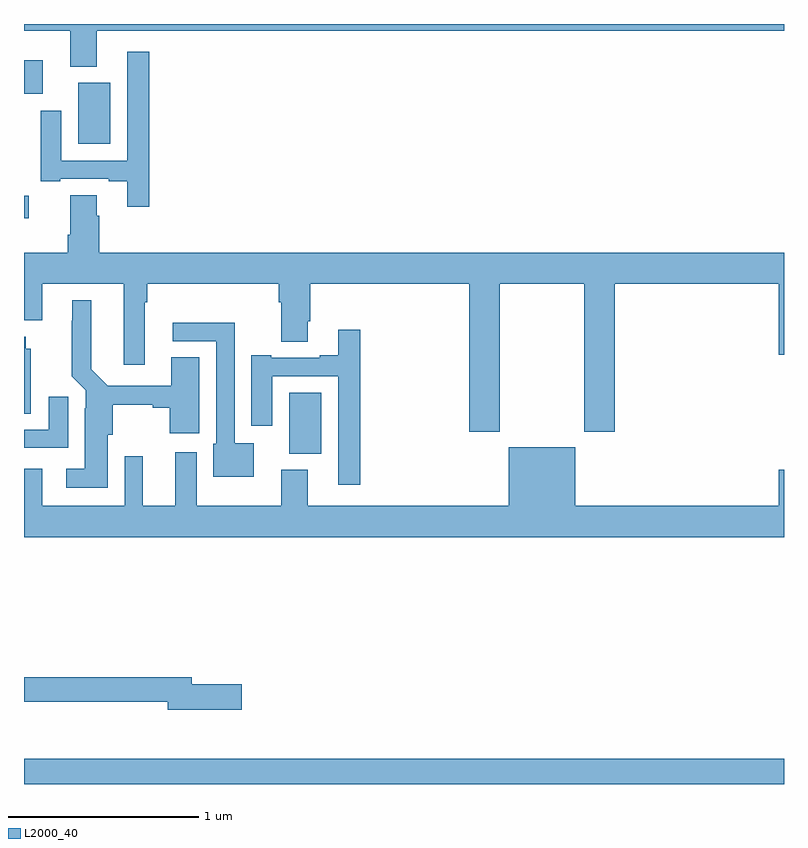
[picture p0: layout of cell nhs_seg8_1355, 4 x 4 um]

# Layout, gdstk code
import gdstk
lib = gdstk.Library(unit=1e-6, precision=1e-09)
def R(c, l, rs):  # rectangles x0, y0, x1, y1
    for r in rs: c.add(gdstk.rectangle(r[:2], r[2:], *l))
def P(c, l, *ps):  # polygons
    for p in ps: c.add(gdstk.Polygon(p, *l))
L2000_40 = (2000, 40)

nhs_seg8_1355 = lib.new_cell('nhs_seg8_1355')
R(nhs_seg8_1355, L2000_40, [(197,1081.9,201,1082.032), (198.395,1083.638,198.565,1083.958), (197,1084.877,197.026,1084.995), (197.285,1085.27,197.455,1085.59), (197,1085.534,197.098,1085.71)])
P(nhs_seg8_1355, L2000_40, [(197.383,1085.864),(201,1085.864),(201,1085.9),(197,1085.9),(197,1085.864),(197.243,1085.864),(197.243,1085.675),(197.383,1085.675)],
  [(197.66,1085.755),(197.544,1085.755),(197.544,1085.181),(197.197,1085.181),(197.197,1085.443),(197.087,1085.443),(197.087,1085.073),(197.191,1085.073),(197.191,1085.085),(197.447,1085.085),(197.447,1085.073),(197.543,1085.073),(197.543,1084.938),(197.66,1084.938)],
  [(197,1084.34),(197.095,1084.34),(197.095,1084.532),(197.525,1084.532),(197.525,1084.107),(197.635,1084.107),(197.635,1084.436),(197.648,1084.436),(197.648,1084.532),(198.341,1084.532),(198.341,1084.436),(198.353,1084.436),(198.353,1084.228),(198.493,1084.228),(198.493,1084.336),(198.506,1084.336),(198.506,1084.532),(199.343,1084.532),(199.343,1083.753),(199.503,1083.753),(199.503,1084.532),(199.948,1084.532),(199.948,1083.753),(200.108,1083.753),(200.108,1084.532),(200.972,1084.532),(200.972,1084.158),(201,1084.158),(201,1084.696),(197.396,1084.696),(197.396,1084.892),(197.383,1084.892),(197.383,1085),(197.243,1085),(197.243,1084.792),(197.231,1084.792),(197.231,1084.696),(197,1084.696)],
  [(197.44,1083.738),(197.466,1083.738),(197.466,1083.895),(197.678,1083.895),(197.678,1083.88),(197.767,1083.88),(197.767,1083.747),(197.923,1083.747),(197.923,1084.145),(197.774,1084.145),(197.774,1083.996),(197.44,1083.996),(197.353,1084.084),(197.353,1084.447),(197.255,1084.447),(197.255,1084.337),(197.251,1084.337),(197.251,1084.046),(197.325,1083.972),(197.325,1083.878),(197.321,1083.878),(197.321,1083.559),(197.223,1083.559),(197.223,1083.458),(197.44,1083.458)],
  [(198.208,1083.694),(198.108,1083.694),(198.108,1084.328),(197.784,1084.328),(197.784,1084.23),(198.012,1084.23),(198.012,1083.69),(197.996,1083.69),(197.996,1083.518),(198.208,1083.518)],
  [(198.77,1084.291),(198.653,1084.291),(198.653,1084.156),(198.557,1084.156),(198.557,1084.143),(198.301,1084.143),(198.301,1084.156),(198.197,1084.156),(198.197,1083.786),(198.307,1083.786),(198.307,1084.047),(198.654,1084.047),(198.654,1083.474),(198.77,1083.474)],
  [(197.035,1084.191),(197.008,1084.191),(197.008,1084.255),(197,1084.255),(197,1083.85),(197.035,1083.85)],
  [(197.233,1083.937),(197.129,1083.937),(197.129,1083.765),(197,1083.765),(197,1083.669),(197.233,1083.669)],
  [(201,1083.553),(200.972,1083.553),(200.972,1083.364),(199.9,1083.364),(199.9,1083.673),(199.55,1083.673),(199.55,1083.364),(198.493,1083.364),(198.493,1083.553),(198.353,1083.553),(198.353,1083.364),(197.908,1083.364),(197.908,1083.646),(197.795,1083.646),(197.795,1083.364),(197.626,1083.364),(197.626,1083.625),(197.529,1083.625),(197.529,1083.364),(197.095,1083.364),(197.095,1083.559),(197,1083.559),(197,1083.2),(201,1083.2)],
  [(198.145,1082.426),(197.884,1082.426),(197.884,1082.462),(197,1082.462),(197,1082.334),(197.756,1082.334),(197.756,1082.291),(198.145,1082.291)])

lib.write_gds('nhs_seg8_1355.gds')
